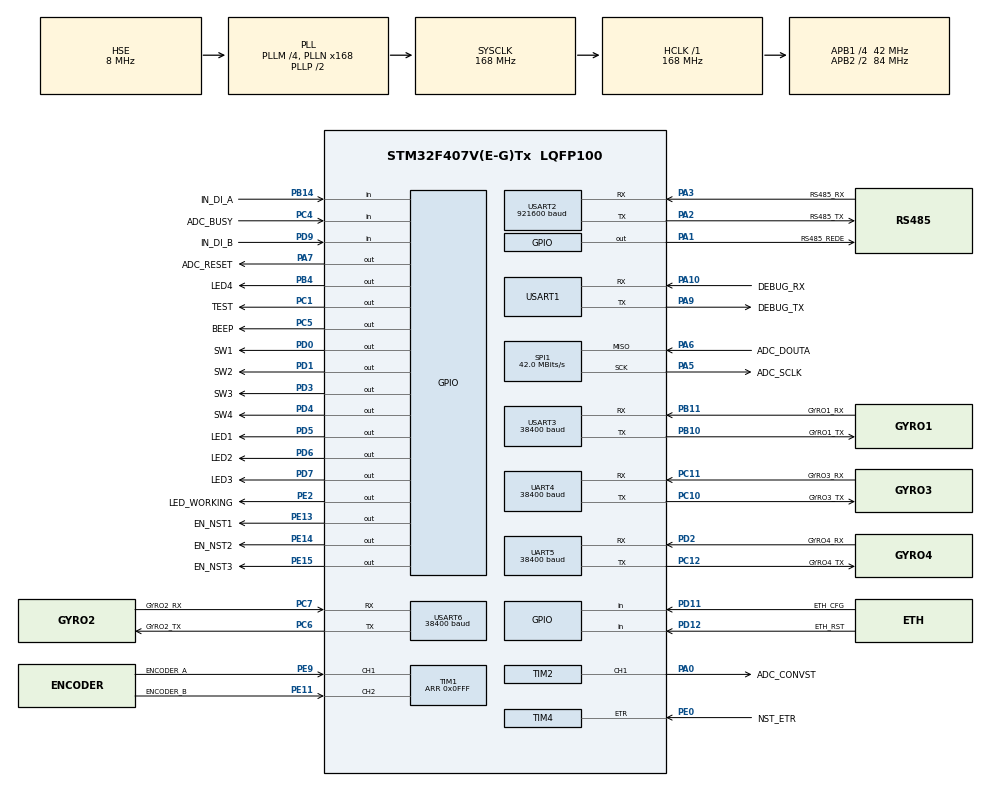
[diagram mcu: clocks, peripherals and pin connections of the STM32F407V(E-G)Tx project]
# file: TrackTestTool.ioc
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Dma.Request0=USART2_TX
Dma.Request1=USART2_RX
Dma.Request2=USART3_RX
Dma.Request3=UART4_RX
Dma.Request4=UART5_RX
Dma.Request5=SPI1_RX
Dma.Request6=USART6_RX
Dma.SPI1_RX.5.Direction=DMA_PERIPH_TO_MEMORY
Dma.SPI1_RX.5.FIFOMode=DMA_FIFOMODE_DISABLE
Dma.SPI1_RX.5.Instance=DMA2_Stream0
Dma.SPI1_RX.5.MemDataAlignment=DMA_MDATAALIGN_BYTE
Dma.SPI1_RX.5.MemInc=DMA_MINC_ENABLE
Dma.SPI1_RX.5.Mode=DMA_NORMAL
Dma.SPI1_RX.5.PeriphDataAlignment=DMA_PDATAALIGN_BYTE
Dma.SPI1_RX.5.PeriphInc=DMA_PINC_DISABLE
Dma.SPI1_RX.5.Priority=DMA_PRIORITY_MEDIUM
Dma.UART4_RX.3.Direction=DMA_PERIPH_TO_MEMORY
Dma.UART4_RX.3.FIFOMode=DMA_FIFOMODE_DISABLE
Dma.UART4_RX.3.Instance=DMA1_Stream2
Dma.UART4_RX.3.MemDataAlignment=DMA_MDATAALIGN_BYTE
Dma.UART4_RX.3.MemInc=DMA_MINC_ENABLE
Dma.UART4_RX.3.Mode=DMA_CIRCULAR
Dma.UART4_RX.3.PeriphDataAlignment=DMA_PDATAALIGN_BYTE
Dma.UART4_RX.3.PeriphInc=DMA_PINC_DISABLE
Dma.UART4_RX.3.Priority=DMA_PRIORITY_LOW
Dma.UART5_RX.4.Direction=DMA_PERIPH_TO_MEMORY
Dma.UART5_RX.4.FIFOMode=DMA_FIFOMODE_DISABLE
Dma.UART5_RX.4.Instance=DMA1_Stream0
Dma.UART5_RX.4.MemDataAlignment=DMA_MDATAALIGN_BYTE
Dma.UART5_RX.4.MemInc=DMA_MINC_ENABLE
Dma.UART5_RX.4.Mode=DMA_CIRCULAR
Dma.UART5_RX.4.PeriphDataAlignment=DMA_PDATAALIGN_BYTE
Dma.UART5_RX.4.PeriphInc=DMA_PINC_DISABLE
Dma.UART5_RX.4.Priority=DMA_PRIORITY_LOW
Dma.USART2_RX.1.Direction=DMA_PERIPH_TO_MEMORY
Dma.USART2_RX.1.FIFOMode=DMA_FIFOMODE_DISABLE
Dma.USART2_RX.1.Instance=DMA1_Stream5
Dma.USART2_RX.1.MemDataAlignment=DMA_MDATAALIGN_BYTE
Dma.USART2_RX.1.MemInc=DMA_MINC_ENABLE
Dma.USART2_RX.1.Mode=DMA_CIRCULAR
Dma.USART2_RX.1.PeriphDataAlignment=DMA_PDATAALIGN_BYTE
Dma.USART2_RX.1.PeriphInc=DMA_PINC_DISABLE
Dma.USART2_RX.1.Priority=DMA_PRIORITY_LOW
Dma.USART2_TX.0.Direction=DMA_MEMORY_TO_PERIPH
Dma.USART2_TX.0.FIFOMode=DMA_FIFOMODE_DISABLE
Dma.USART2_TX.0.Instance=DMA1_Stream6
Dma.USART2_TX.0.MemDataAlignment=DMA_MDATAALIGN_BYTE
Dma.USART2_TX.0.MemInc=DMA_MINC_ENABLE
Dma.USART2_TX.0.Mode=DMA_NORMAL
Dma.USART2_TX.0.PeriphDataAlignment=DMA_PDATAALIGN_BYTE
Dma.USART2_TX.0.PeriphInc=DMA_PINC_DISABLE
Dma.USART2_TX.0.Priority=DMA_PRIORITY_LOW
Dma.USART3_RX.2.Direction=DMA_PERIPH_TO_MEMORY
Dma.USART3_RX.2.FIFOMode=DMA_FIFOMODE_DISABLE
Dma.USART3_RX.2.Instance=DMA1_Stream1
Dma.USART3_RX.2.MemDataAlignment=DMA_MDATAALIGN_BYTE
Dma.USART3_RX.2.MemInc=DMA_MINC_ENABLE
Dma.USART3_RX.2.Mode=DMA_CIRCULAR
Dma.USART3_RX.2.PeriphDataAlignment=DMA_PDATAALIGN_BYTE
Dma.USART3_RX.2.PeriphInc=DMA_PINC_DISABLE
Dma.USART3_RX.2.Priority=DMA_PRIORITY_LOW
Dma.USART6_RX.6.Direction=DMA_PERIPH_TO_MEMORY
Dma.USART6_RX.6.FIFOMode=DMA_FIFOMODE_DISABLE
Dma.USART6_RX.6.Instance=DMA2_Stream1
Dma.USART6_RX.6.MemDataAlignment=DMA_MDATAALIGN_BYTE
Dma.USART6_RX.6.MemInc=DMA_MINC_ENABLE
Dma.USART6_RX.6.Mode=DMA_CIRCULAR
Dma.USART6_RX.6.PeriphDataAlignment=DMA_PDATAALIGN_BYTE
Dma.USART6_RX.6.PeriphInc=DMA_PINC_DISABLE
Dma.USART6_RX.6.Priority=DMA_PRIORITY_LOW
FREERTOS.BinarySemaphores01=AdcConvertStartSem,Dynamic,NULL;EncoderArriveSem,Dynamic,NULL;UserCommandArriveSem,Dynamic,NULL;UserCommandProcessSem,Dynamic,NULL
FREERTOS.Mutexes01=ADCSamplingMutex,Dynamic,NULL;UserCommandMutex,Dynamic,NULL
FREERTOS.Tasks01=MAIN_TASK,2,512,mainTask,Default,NULL,Dynamic,NULL,NULL;ADC_TASK,0,128,adcTask,As weak,NULL,Dynamic,NULL,NULL;SENSOR_TASK,-1,128,sensorTask,As weak,NULL,Dynamic,NULL,NULL;COMM_TASK,-2,256,commTask,As weak,NULL,Dynamic,NULL,NULL;MONITOR_TASK,-3,128,monitorTask,Default,NULL,Dynamic,NULL,NULL
FREERTOS.configUSE_COUNTING_SEMAPHORES=0
Mcu.Family=STM32F4
Mcu.Name=STM32F407V(E-G)Tx
Mcu.Package=LQFP100
NVIC.DMA1_Stream0_IRQn=true\:5\:0\:false\:false\:true\:true\:false
NVIC.DMA1_Stream1_IRQn=true\:5\:0\:false\:false\:true\:true\:false
NVIC.DMA1_Stream2_IRQn=true\:5\:0\:false\:false\:true\:true\:false
NVIC.DMA1_Stream5_IRQn=true\:5\:0\:false\:false\:true\:true\:false
NVIC.DMA1_Stream6_IRQn=true\:5\:0\:false\:false\:true\:true\:false
NVIC.DMA2_Stream0_IRQn=true\:5\:0\:false\:false\:true\:true\:false
NVIC.DMA2_Stream1_IRQn=true\:5\:0\:false\:false\:true\:true\:false
NVIC.PriorityGroup=NVIC_PRIORITYGROUP_4
NVIC.TIM1_UP_TIM10_IRQn=true\:5\:0\:false\:false\:true\:true\:true
NVIC.TIM3_IRQn=true\:5\:0\:false\:false\:true\:true\:true
NVIC.TIM4_IRQn=true\:5\:0\:false\:false\:true\:true\:true
NVIC.TIM5_IRQn=true\:5\:0\:false\:false\:true\:true\:true
NVIC.TIM6_DAC_IRQn=true\:0\:0\:false\:false\:true\:false\:false
NVIC.TIM7_IRQn=true\:5\:0\:false\:false\:true\:true\:true
NVIC.TimeBase=TIM6_DAC_IRQn
NVIC.TimeBaseIP=TIM6
NVIC.USART2_IRQn=true\:5\:0\:false\:false\:true\:true\:true
NVIC.USART6_IRQn=true\:5\:0\:false\:false\:true\:true\:true
PA0-WKUP.GPIO_Label=ADC_CONVST
PA0-WKUP.Signal=S_TIM2_CH1_ETR
PA1.GPIO_Label=RS485_REDE
PA1.Signal=GPIO_Output
PA10.GPIO_Label=DEBUG_RX
PA10.Mode=Asynchronous
PA10.Signal=USART1_RX
PA2.GPIO_Label=RS485_TX
PA2.Mode=Asynchronous
PA2.Signal=USART2_TX
PA3.GPIO_Label=RS485_RX
PA3.Mode=Asynchronous
PA3.Signal=USART2_RX
PA4.GPIO_Label=ADC_CS
PA4.Signal=SPI1_NSS
PA5.GPIO_Label=ADC_SCLK
PA5.Mode=RX_Only_Simplex_Unidirect_Master
PA5.Signal=SPI1_SCK
PA6.GPIO_Label=ADC_DOUTA
PA6.Mode=RX_Only_Simplex_Unidirect_Master
PA6.Signal=SPI1_MISO
PA7.GPIO_Label=ADC_RESET
PA7.Signal=GPIO_Output
PA9.GPIO_Label=DEBUG_TX
PA9.Mode=Asynchronous
PA9.Signal=USART1_TX
PB10.GPIO_Label=GYRO1_TX
PB10.Mode=Asynchronous
PB10.Signal=USART3_TX
PB11.GPIO_Label=GYRO1_RX
PB11.Mode=Asynchronous
PB11.Signal=USART3_RX
PB14.GPIO_Label=IN_DI_A
PB14.GPIO_PuPd=GPIO_PULLUP
PB14.Signal=GPIO_Input
PB4.GPIO_Label=LED4
PB4.Signal=GPIO_Output
PC1.GPIO_Label=TEST
PC1.GPIO_Speed=GPIO_SPEED_FREQ_VERY_HIGH
PC1.Signal=GPIO_Output
PC10.GPIO_Label=GYRO3_TX
PC10.Mode=Asynchronous
PC10.Signal=UART4_TX
PC11.GPIO_Label=GYRO3_RX
PC11.Mode=Asynchronous
PC11.Signal=UART4_RX
PC12.GPIO_Label=GYRO4_TX
PC12.Mode=Asynchronous
PC12.Signal=UART5_TX
PC4.GPIO_Label=ADC_BUSY
PC4.Signal=GPIO_Input
PC5.GPIO_Label=BEEP
PC5.Signal=GPIO_Output
PC6.GPIO_Label=GYRO2_TX
PC6.Mode=Asynchronous
PC6.Signal=USART6_TX
PC7.GPIO_Label=GYRO2_RX
PC7.Mode=Asynchronous
PC7.Signal=USART6_RX
PD0.GPIO_Label=SW1
PD0.Signal=GPIO_Output
PD1.GPIO_Label=SW2
PD1.Signal=GPIO_Output
PD11.GPIO_Label=ETH_CFG
PD11.Signal=GPIO_Input
PD12.GPIO_Label=ETH_RST
PD12.Signal=GPIO_Input
PD2.GPIO_Label=GYRO4_RX
PD2.Mode=Asynchronous
PD2.Signal=UART5_RX
PD3.GPIO_Label=SW3
PD3.Signal=GPIO_Output
PD4.GPIO_Label=SW4
PD4.Signal=GPIO_Output
PD5.GPIO_Label=LED1
PD5.Signal=GPIO_Output
PD6.GPIO_Label=LED2
PD6.Signal=GPIO_Output
PD7.GPIO_Label=LED3
PD7.Signal=GPIO_Output
PD9.GPIO_Label=IN_DI_B
PD9.GPIO_PuPd=GPIO_PULLUP
PD9.Signal=GPIO_Input
PE0.GPIO_Label=NST_ETR
PE0.Signal=S_TIM4_ETR
PE11.GPIO_Label=ENCODER_B
PE11.GPIO_PuPd=GPIO_PULLUP
PE11.Signal=S_TIM1_CH2
PE13.GPIO_Label=EN_NST1
PE13.Signal=GPIO_Output
PE14.GPIO_Label=EN_NST2
PE14.Signal=GPIO_Output
PE15.GPIO_Label=EN_NST3
PE15.Signal=GPIO_Output
PE2.GPIO_Label=LED_WORKING
PE2.Signal=GPIO_Output
PE9.GPIO_Label=ENCODER_A
PE9.GPIO_PuPd=GPIO_PULLUP
PE9.Signal=S_TIM1_CH1
PH0-OSC_IN.Mode=HSE-External-Oscillator
PH0-OSC_IN.Signal=RCC_OSC_IN
PH1-OSC_OUT.Mode=HSE-External-Oscillator
PH1-OSC_OUT.Signal=RCC_OSC_OUT
ProjectManager.HeapSize=0x200
ProjectManager.StackSize=0x400
ProjectManager.TargetToolchain=MDK-ARM V5
RCC.48MHZClocksFreq_Value=84000000
RCC.AHBFreq_Value=168000000
RCC.APB1CLKDivider=RCC_HCLK_DIV4
RCC.APB1Freq_Value=42000000
RCC.APB1TimFreq_Value=84000000
RCC.APB2CLKDivider=RCC_HCLK_DIV2
RCC.APB2Freq_Value=84000000
RCC.APB2TimFreq_Value=168000000
RCC.CortexFreq_Value=168000000
RCC.HCLKFreq_Value=168000000
RCC.HSE_VALUE=8000000
RCC.HSI_VALUE=16000000
RCC.LSE_VALUE=32768
RCC.PLLM=4
RCC.PLLN=168
RCC.PLLSourceVirtual=RCC_PLLSOURCE_HSE
RCC.SYSCLKFreq_VALUE=168000000
RCC.SYSCLKSource=RCC_SYSCLKSOURCE_PLLCLK
RCC.VCOOutputFreq_Value=336000000
SH.S_TIM1_CH1.0=TIM1_CH1,Encoder_Interface
SH.S_TIM1_CH2.0=TIM1_CH2,Encoder_Interface
SH.S_TIM2_CH1_ETR.0=TIM2_CH1,PWM Generation1 CH1
SH.S_TIM4_ETR.0=TIM4_ETR,ClockSourceETR_Mode2
SPI1.BaudRatePrescaler=SPI_BAUDRATEPRESCALER_2
SPI1.CalculateBaudRate=42.0 MBits/s
SPI1.Direction=SPI_DIRECTION_2LINES_RXONLY
SPI1.Mode=SPI_MODE_MASTER
SPI1.VirtualType=VM_MASTER
TIM1.EncoderMode=TIM_ENCODERMODE_TI12
TIM1.Period=0x0FFF
TIM2.Channel-PWM\ Generation1\ CH1=TIM_CHANNEL_1
TIM2.Period=100-1
TIM2.Prescaler=840-1
TIM2.Pulse-PWM\ Generation1\ CH1=80
TIM2.TIM_MasterOutputTrigger=TIM_TRGO_OC1REF
TIM2.TIM_MasterSlaveMode=TIM_MASTERSLAVEMODE_ENABLE
TIM3.Period=20-1
TIM3.Prescaler=100-1
TIM4.Period=0xFFFF
TIM5.Period=1000*5-1
TIM5.Prescaler=8400*2-1
TIM7.Period=500-1
TIM7.Prescaler=8400-1
UART4.BaudRate=38400
UART4.VirtualMode=Asynchronous
UART5.BaudRate=38400
UART5.VirtualMode=Asynchronous
USART1.VirtualMode=VM_ASYNC
USART2.BaudRate=921600
USART2.VirtualMode=VM_ASYNC
USART3.BaudRate=38400
USART3.VirtualMode=VM_ASYNC
USART6.BaudRate=38400
USART6.VirtualMode=VM_ASYNC
VP_FREERTOS_VS_ENABLE.Mode=Enabled
VP_SYS_VS_tim6.Mode=TIM6
VP_TIM2_VS_ClockSourceINT.Mode=Internal
VP_TIM3_VS_ClockSourceINT.Mode=Internal
VP_TIM3_VS_ClockSourceITR.Mode=TriggerSource_ITR1
VP_TIM3_VS_ControllerModeTrigger.Mode=Trigger Mode
VP_TIM3_VS_OPM.Mode=OPM_bit
VP_TIM5_VS_ClockSourceINT.Mode=Internal
VP_TIM7_VS_ClockSourceINT.Mode=Enable_Timer
board=custom

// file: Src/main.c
/**
  ******************************************************************************
  * @file           : main.c
  * @brief          : Main program body
  ******************************************************************************
  * This notice applies to any and all portions of this file
  * that are not between comment pairs USER CODE BEGIN and
  * USER CODE END. Other portions of this file, whether
  * inserted by the user or by software development tools
  * are owned by their respective copyright owners.
  *
  * Copyright (c) 2024 STMicroelectronics International N.V.
  * All rights reserved.
  *
  * Redistribution and use in source and binary forms, with or without
  * modification, are permitted, provided that the following conditions are met:
  *
  * 1. Redistribution of source code must retain the above copyright notice,
  *    this list of conditions and the following disclaimer.
  * 2. Redistributions in binary form must reproduce the above copyright notice,
  *    this list of conditions and the following disclaimer in the documentation
  *    and/or other materials provided with the distribution.
  * 3. Neither the name of STMicroelectronics nor the names of other
  *    contributors to this software may be used to endorse or promote products
  *    derived from this software without specific written permission.
  * 4. This software, including modifications and/or derivative works of this
  *    software, must execute solely and exclusively on microcontroller or
  *    microprocessor devices manufactured by or for STMicroelectronics.
  * 5. Redistribution and use of this software other than as permitted under
  *    this license is void and will automatically terminate your rights under
  *    this license.
  *
  * THIS SOFTWARE IS PROVIDED BY STMICROELECTRONICS AND CONTRIBUTORS "AS IS"
  * AND ANY EXPRESS, IMPLIED OR STATUTORY WARRANTIES, INCLUDING, BUT NOT
  * LIMITED TO, THE IMPLIED WARRANTIES OF MERCHANTABILITY, FITNESS FOR A
  * PARTICULAR PURPOSE AND NON-INFRINGEMENT OF THIRD PARTY INTELLECTUAL PROPERTY
  * RIGHTS ARE DISCLAIMED TO THE FULLEST EXTENT PERMITTED BY LAW. IN NO EVENT
  * SHALL STMICROELECTRONICS OR CONTRIBUTORS BE LIABLE FOR ANY DIRECT, INDIRECT,
  * INCIDENTAL, SPECIAL, EXEMPLARY, OR CONSEQUENTIAL DAMAGES (INCLUDING, BUT NOT
  * LIMITED TO, PROCUREMENT OF SUBSTITUTE GOODS OR SERVICES; LOSS OF USE, DATA,
  * OR PROFITS; OR BUSINESS INTERRUPTION) HOWEVER CAUSED AND ON ANY THEORY OF
  * LIABILITY, WHETHER IN CONTRACT, STRICT LIABILITY, OR TORT (INCLUDING
  * NEGLIGENCE OR OTHERWISE) ARISING IN ANY WAY OUT OF THE USE OF THIS SOFTWARE,
  * EVEN IF ADVISED OF THE POSSIBILITY OF SUCH DAMAGE.
  *
  ******************************************************************************
  */
#include "main.h"
#include "stm32f4xx_hal.h"
#include "cmsis_os.h"

/* USER CODE BEGIN Includes */
#include <math.h>
#include "debug.h"
#include "comm.h"
#include "calibrate.h"
#include "ad7608.h"
#include "gyro97B.h"
#include "encoder.h"
#include "nst1001.h"
#include "flash.h"
/* USER CODE END Includes */

SPI_HandleTypeDef hspi1;
DMA_HandleTypeDef hdma_spi1_rx;

TIM_HandleTypeDef htim1;
TIM_HandleTypeDef htim2;
TIM_HandleTypeDef htim3;
TIM_HandleTypeDef htim4;
TIM_HandleTypeDef htim5;
TIM_HandleTypeDef htim7;

UART_HandleTypeDef huart4;
UART_HandleTypeDef huart5;
UART_HandleTypeDef huart1;
UART_HandleTypeDef huart2;
UART_HandleTypeDef huart3;
UART_HandleTypeDef huart6;
DMA_HandleTypeDef hdma_uart4_rx;
DMA_HandleTypeDef hdma_uart5_rx;
DMA_HandleTypeDef hdma_usart2_tx;
DMA_HandleTypeDef hdma_usart2_rx;
DMA_HandleTypeDef hdma_usart3_rx;
DMA_HandleTypeDef hdma_usart6_rx;

osThreadId MAIN_TASKHandle;
osThreadId ADC_TASKHandle;
osThreadId SENSOR_TASKHandle;
osThreadId COMM_TASKHandle;
osThreadId MONITOR_TASKHandle;
osMutexId ADCSamplingMutexHandle;
osMutexId UserCommandMutexHandle;
osSemaphoreId AdcConvertStartSemHandle;
osSemaphoreId EncoderArriveSemHandle;
osSemaphoreId UserCommandArriveSemHandle;
osSemaphoreId UserCommandProcessSemHandle;

/* USER CODE BEGIN PV */

#define PROJECT_NAME_LINE1         " ______                    __         _____                        __              \r\n"
#define PROJECT_NAME_LINE2         "/_  __/  ____ ___ _ ____  / /__      / ___/ ___  ___   __ _  ___  / /_  ____  __ __\r\n"
#define PROJECT_NAME_LINE3         " / /    / __// _ `// __/ /  '_/     / (_ / / -_)/ _ \ /  ' \/ -_)/ __/ / __/ / // /\r\n"
#define PROJECT_NAME_LINE4         "/_/    /_/   \_,_/ \__/ /_/\_\      \___/  \__/ \___//_/_/_/\__/ \__/ /_/    \_, / \r\n"
#define PROJECT_NAME_LINE5         "                                                                            /___/  \r\n"

#define FIRMWARE_VERSION           "0.0.7"
#define COMPILE_DATE_TIME          __DATE__","__TIME__
#define PROJECT_NAME               PROJECT_NAME_LINE1\
                                   PROJECT_NAME_LINE2\
                                   PROJECT_NAME_LINE3\
                                   PROJECT_NAME_LINE4\
                                   PROJECT_NAME_LINE5
#undef  PROJECT_NAME
#define PROJECT_NAME               "#### < Track Geometry > ####"

#define BANNER_INFO                "\r\n"PROJECT_NAME"\r\n"\
                                   "Firmware Version : "FIRMWARE_VERSION"\r\n"\
                                   "Compilation Time : "COMPILE_DATE_TIME"\r\n\r\n"

/* Private variables ---------------------------------------------------------*/

/* TIM1 : Encoder                  */
/* TIM2 : ADC sampling trigger     */
/* TIM3 : ADC data reading trigger */
/* TIM6 : HAL conter               */
/* TIM4 : Temperature sensor       */
/* TIM5 : Speed sensor             */

TRACK_MEAS_ITEM meas = {0.0f};
uint8_t         format = OUTPUT_JUSTFLOAT;

/* USER CODE END PV */

void SystemClock_Config(void);
static void MX_GPIO_Init(void);
static void MX_DMA_Init(void);
static void MX_USART1_UART_Init(void);
static void MX_SPI1_Init(void);
static void MX_USART2_UART_Init(void);
static void MX_USART6_UART_Init(void);
static void MX_TIM1_Init(void);
static void MX_TIM4_Init(void);
static void MX_TIM5_Init(void);
static void MX_TIM2_Init(void);
static void MX_TIM3_Init(void);
static void MX_TIM7_Init(void);
static void MX_UART4_Init(void);
static void MX_UART5_Init(void);
static void MX_USART3_UART_Init(void);
void mainTask(void const * argument);
void adcTask(void const * argument);
void sensorTask(void const * argument);
void commTask(void const * argument);
void monitorTask(void const * argument);

void HAL_TIM_MspPostInit(TIM_HandleTypeDef *htim);

/* USER CODE BEGIN PFP */
/* Private function prototypes -----------------------------------------------*/
static void sendData2PC(void);
/* USER CODE END PFP */

/* USER CODE BEGIN 0 */
extern WORK_MODE workMode;
extern TRIG_MODE trigMode;
extern DATA_MODE dataMode;
extern float outputADVal[AD7608_CH_NUMBER];
/* USER CODE END 0 */

int main(void)
{

  /* MCU Configuration----------------------------------------------------------*/

  /* Reset of all peripherals, Initializes the Flash interface and the Systick. */
  HAL_Init();

  /* Configure the system clock */
  SystemClock_Config();

  /* Initialize all configured peripherals */
  MX_GPIO_Init();
  MX_DMA_Init();
  MX_USART1_UART_Init();
  MX_SPI1_Init();
  MX_USART2_UART_Init();
  MX_USART6_UART_Init();
  MX_TIM1_Init();
  MX_TIM4_Init();
  MX_TIM5_Init();
  MX_TIM2_Init();
  MX_TIM3_Init();
  MX_TIM7_Init();
  MX_UART4_Init();
  MX_UART5_Init();
  MX_USART3_UART_Init();

  /* Create the mutex(es) */
  /* definition and creation of ADCSamplingMutex */
  osMutexDef(ADCSamplingMutex);
  ADCSamplingMutexHandle = osMutexCreate(osMutex(ADCSamplingMutex));

  /* definition and creation of UserCommandMutex */
  osMutexDef(UserCommandMutex);
  UserCommandMutexHandle = osMutexCreate(osMutex(UserCommandMutex));

  /* Create the semaphores(s) */
  /* definition and creation of AdcConvertStartSem */
  osSemaphoreDef(AdcConvertStartSem);
  AdcConvertStartSemHandle = osSemaphoreCreate(osSemaphore(AdcConvertStartSem), 1);

  /* definition and creation of EncoderArriveSem */
  osSemaphoreDef(EncoderArriveSem);
  EncoderArriveSemHandle = osSemaphoreCreate(osSemaphore(EncoderArriveSem), 1);

  /* definition and creation of UserCommandArriveSem */
  osSemaphoreDef(UserCommandArriveSem);
  UserCommandArriveSemHandle = osSemaphoreCreate(osSemaphore(UserCommandArriveSem), 1);

  /* definition and creation of UserCommandProcessSem */
  osSemaphoreDef(UserCommandProcessSem);
  UserCommandProcessSemHandle = osSemaphoreCreate(osSemaphore(UserCommandProcessSem), 1);

  /* Create the thread(s) */
  /* definition and creation of MAIN_TASK */
  osThreadDef(MAIN_TASK, mainTask, osPriorityHigh, 0, 512);
  MAIN_TASKHandle = osThreadCreate(osThread(MAIN_TASK), NULL);

  /* definition and creation of ADC_TASK */
  osThreadDef(ADC_TASK, adcTask, osPriorityNormal, 0, 128);
  ADC_TASKHandle = osThreadCreate(osThread(ADC_TASK), NULL);

  /* definition and creation of SENSOR_TASK */
  osThreadDef(SENSOR_TASK, sensorTask, osPriorityBelowNormal, 0, 128);
  SENSOR_TASKHandle = osThreadCreate(osThread(SENSOR_TASK), NULL);

  /* definition and creation of COMM_TASK */
  osThreadDef(COMM_TASK, commTask, osPriorityLow, 0, 256);
  COMM_TASKHandle = osThreadCreate(osThread(COMM_TASK), NULL);

  /* definition and creation of MONITOR_TASK */
  osThreadDef(MONITOR_TASK, monitorTask, osPriorityIdle, 0, 128);
  MONITOR_TASKHandle = osThreadCreate(osThread(MONITOR_TASK), NULL);

  /* Start scheduler */
  osKernelStart();

  /* We should never get here as control is now taken by the scheduler */

  /* Infinite loop */
  while (1)
  {

  }

}

void SystemClock_Config(void)
{

  RCC_OscInitTypeDef RCC_OscInitStruct;
  RCC_ClkInitTypeDef RCC_ClkInitStruct;

    /**Configure the main internal regulator output voltage
    */
  __HAL_RCC_PWR_CLK_ENABLE();

  __HAL_PWR_VOLTAGESCALING_CONFIG(PWR_REGULATOR_VOLTAGE_SCALE1);

    /**Initializes the CPU, AHB and APB busses clocks
    */
  RCC_OscInitStruct.OscillatorType = RCC_OSCILLATORTYPE_HSE;
  RCC_OscInitStruct.HSEState = RCC_HSE_ON;
  RCC_OscInitStruct.PLL.PLLState = RCC_PLL_ON;
  RCC_OscInitStruct.PLL.PLLSource = RCC_PLLSOURCE_HSE;
  RCC_OscInitStruct.PLL.PLLM = 4;
  RCC_OscInitStruct.PLL.PLLN = 168;
  RCC_OscInitStruct.PLL.PLLP = RCC_PLLP_DIV2;
  RCC_OscInitStruct.PLL.PLLQ = 4;
  if (HAL_RCC_OscConfig(&RCC_OscInitStruct) != HAL_OK)
  {
    _Error_Handler(__FILE__, __LINE__);
  }

    /**Initializes the CPU, AHB and APB busses clocks
    */
  RCC_ClkInitStruct.ClockType = RCC_CLOCKTYPE_HCLK|RCC_CLOCKTYPE_SYSCLK
                              |RCC_CLOCKTYPE_PCLK1|RCC_CLOCKTYPE_PCLK2;
  RCC_ClkInitStruct.SYSCLKSource = RCC_SYSCLKSOURCE_PLLCLK;
  RCC_ClkInitStruct.AHBCLKDivider = RCC_SYSCLK_DIV1;
  RCC_ClkInitStruct.APB1CLKDivider = RCC_HCLK_DIV4;
  RCC_ClkInitStruct.APB2CLKDivider = RCC_HCLK_DIV2;

  if (HAL_RCC_ClockConfig(&RCC_ClkInitStruct, FLASH_LATENCY_5) != HAL_OK)
  {
    _Error_Handler(__FILE__, __LINE__);
  }

    /**Configure the Systick interrupt time
    */
  HAL_SYSTICK_Config(HAL_RCC_GetHCLKFreq()/1000);

    /**Configure the Systick
    */
  HAL_SYSTICK_CLKSourceConfig(SYSTICK_CLKSOURCE_HCLK);

  /* SysTick_IRQn interrupt configuration */
  HAL_NVIC_SetPriority(SysTick_IRQn, 15, 0);
}

/* SPI1 init function */
static void MX_SPI1_Init(void)
{

  /* SPI1 parameter configuration*/
  hspi1.Instance = SPI1;
  hspi1.Init.Mode = SPI_MODE_MASTER;
  hspi1.Init.Direction = SPI_DIRECTION_2LINES_RXONLY;
  hspi1.Init.DataSize = SPI_DATASIZE_8BIT;
  hspi1.Init.CLKPolarity = SPI_POLARITY_LOW;
  hspi1.Init.CLKPhase = SPI_PHASE_1EDGE;
  hspi1.Init.NSS = SPI_NSS_SOFT;
  hspi1.Init.BaudRatePrescaler = SPI_BAUDRATEPRESCALER_2;
  hspi1.Init.FirstBit = SPI_FIRSTBIT_MSB;
  hspi1.Init.TIMode = SPI_TIMODE_DISABLE;
  hspi1.Init.CRCCalculation = SPI_CRCCALCULATION_DISABLE;
  hspi1.Init.CRCPolynomial = 10;
  if (HAL_SPI_Init(&hspi1) != HAL_OK)
  {
    _Error_Handler(__FILE__, __LINE__);
  }

}

/* TIM1 init function */
static void MX_TIM1_Init(void)
{

  TIM_Encoder_InitTypeDef sConfig;
  TIM_MasterConfigTypeDef sMasterConfig;

  htim1.Instance = TIM1;
  htim1.Init.Prescaler = 0;
  htim1.Init.CounterMode = TIM_COUNTERMODE_UP;
  htim1.Init.Period = 0x0FFF;
  htim1.Init.ClockDivision = TIM_CLOCKDIVISION_DIV1;
  htim1.Init.RepetitionCounter = 0;
  sConfig.EncoderMode = TIM_ENCODERMODE_TI12;
  sConfig.IC1Polarity = TIM_ICPOLARITY_RISING;
  sConfig.IC1Selection = TIM_ICSELECTION_DIRECTTI;
  sConfig.IC1Prescaler = TIM_ICPSC_DIV1;
  sConfig.IC1Filter = 0;
  sConfig.IC2Polarity = TIM_ICPOLARITY_RISING;
  sConfig.IC2Selection = TIM_ICSELECTION_DIRECTTI;
  sConfig.IC2Prescaler = TIM_ICPSC_DIV1;
  sConfig.IC2Filter = 0;
  if (HAL_TIM_Encoder_Init(&htim1, &sConfig) != HAL_OK)
  {
    _Error_Handler(__FILE__, __LINE__);
  }

  sMasterConfig.MasterOutputTrigger = TIM_TRGO_RESET;
  sMasterConfig.MasterSlaveMode = TIM_MASTERSLAVEMODE_DISABLE;
  if (HAL_TIMEx_MasterConfigSynchronization(&htim1, &sMasterConfig) != HAL_OK)
  {
    _Error_Handler(__FILE__, __LINE__);
  }

}

/* TIM2 init function */
static void MX_TIM2_Init(void)
{

  TIM_ClockConfigTypeDef sClockSourceConfig;
  TIM_MasterConfigTypeDef sMasterConfig;
  TIM_OC_InitTypeDef sConfigOC;

  htim2.Instance = TIM2;
  htim2.Init.Prescaler = 840-1;
  htim2.Init.CounterMode = TIM_COUNTERMODE_UP;
  htim2.Init.Period = 100-1;
  htim2.Init.ClockDivision = TIM_CLOCKDIVISION_DIV1;
  if (HAL_TIM_Base_Init(&htim2) != HAL_OK)
  {
    _Error_Handler(__FILE__, __LINE__);
  }

  sClockSourceConfig.ClockSource = TIM_CLOCKSOURCE_INTERNAL;
  if (HAL_TIM_ConfigClockSource(&htim2, &sClockSourceConfig) != HAL_OK)
  {
    _Error_Handler(__FILE__, __LINE__);
  }

  if (HAL_TIM_PWM_Init(&htim2) != HAL_OK)
  {
    _Error_Handler(__FILE__, __LINE__);
  }

  sMasterConfig.MasterOutputTrigger = TIM_TRGO_OC1REF;
  sMasterConfig.MasterSlaveMode = TIM_MASTERSLAVEMODE_ENABLE;
  if (HAL_TIMEx_MasterConfigSynchronization(&htim2, &sMasterConfig) != HAL_OK)
  {
    _Error_Handler(__FILE__, __LINE__);
  }

  sConfigOC.OCMode = TIM_OCMODE_PWM1;
  sConfigOC.Pulse = 80;
  sConfigOC.OCPolarity = TIM_OCPOLARITY_HIGH;
  sConfigOC.OCFastMode = TIM_OCFAST_DISABLE;
  if (HAL_TIM_PWM_ConfigChannel(&htim2, &sConfigOC, TIM_CHANNEL_1) != HAL_OK)
  {
    _Error_Handler(__FILE__, __LINE__);
  }

  HAL_TIM_MspPostInit(&htim2);

}

/* TIM3 init function */
static void MX_TIM3_Init(void)
{

  TIM_ClockConfigTypeDef sClockSourceConfig;
  TIM_SlaveConfigTypeDef sSlaveConfig;
  TIM_MasterConfigTypeDef sMasterConfig;

  htim3.Instance = TIM3;
  htim3.Init.Prescaler = 100-1;
  htim3.Init.CounterMode = TIM_COUNTERMODE_UP;
  htim3.Init.Period = 20-1;
  htim3.Init.ClockDivision = TIM_CLOCKDIVISION_DIV1;
  if (HAL_TIM_Base_Init(&htim3) != HAL_OK)
  {
    _Error_Handler(__FILE__, __LINE__);
  }

  sClockSourceConfig.ClockSource = TIM_CLOCKSOURCE_INTERNAL;
  if (HAL_TIM_ConfigClockSource(&htim3, &sClockSourceConfig) != HAL_OK)
  {
    _Error_Handler(__FILE__, __LINE__);
  }

  if (HAL_TIM_OnePulse_Init(&htim3, TIM_OPMODE_SINGLE) != HAL_OK)
  {
    _Error_Handler(__FILE__, __LINE__);
  }

  sSlaveConfig.SlaveMode = TIM_SLAVEMODE_TRIGGER;
  sSlaveConfig.InputTrigger = TIM_TS_ITR1;
  if (HAL_TIM_SlaveConfigSynchronization(&htim3, &sSlaveConfig) != HAL_OK)
  {
    _Error_Handler(__FILE__, __LINE__);
  }

  sMasterConfig.MasterOutputTrigger = TIM_TRGO_RESET;
  sMasterConfig.MasterSlaveMode = TIM_MASTERSLAVEMODE_DISABLE;
  if (HAL_TIMEx_MasterConfigSynchronization(&htim3, &sMasterConfig) != HAL_OK)
  {
    _Error_Handler(__FILE__, __LINE__);
  }

}

/* TIM4 init function */
static void MX_TIM4_Init(void)
{

  TIM_ClockConfigTypeDef sClockSourceConfig;
  TIM_MasterConfigTypeDef sMasterConfig;

  htim4.Instance = TIM4;
  htim4.Init.Prescaler = 0;
  htim4.Init.CounterMode = TIM_COUNTERMODE_UP;
  htim4.Init.Period = 0xFFFF;
  htim4.Init.ClockDivision = TIM_CLOCKDIVISION_DIV1;
  if (HAL_TIM_Base_Init(&htim4) != HAL_OK)
  {
    _Error_Handler(__FILE__, __LINE__);
  }

  sClockSourceConfig.ClockSource = TIM_CLOCKSOURCE_ETRMODE2;
  sClockSourceConfig.ClockPolarity = TIM_CLOCKPOLARITY_NONINVERTED;
  sClockSourceConfig.ClockPrescaler = TIM_CLOCKPRESCALER_DIV1;
  sClockSourceConfig.ClockFilter = 0;
  if (HAL_TIM_ConfigClockSource(&htim4, &sClockSourceConfig) != HAL_OK)
  {
    _Error_Handler(__FILE__, __LINE__);
  }

  sMasterConfig.MasterOutputTrigger = TIM_TRGO_RESET;
  sMasterConfig.MasterSlaveMode = TIM_MASTERSLAVEMODE_DISABLE;
  if (HAL_TIMEx_MasterConfigSynchronization(&htim4, &sMasterConfig) != HAL_OK)
  {
    _Error_Handler(__FILE__, __LINE__);
  }

}

/* TIM5 init function */
static void MX_TIM5_Init(void)
{

  TIM_ClockConfigTypeDef sClockSourceConfig;
  TIM_MasterConfigTypeDef sMasterConfig;

  htim5.Instance = TIM5;
  htim5.Init.Prescaler = 8400*2-1;
  htim5.Init.CounterMode = TIM_COUNTERMODE_UP;
  htim5.Init.Period = 1000*5-1;
  htim5.Init.ClockDivision = TIM_CLOCKDIVISION_DIV1;
  if (HAL_TIM_Base_Init(&htim5) != HAL_OK)
  {
    _Error_Handler(__FILE__, __LINE__);
  }

  sClockSourceConfig.ClockSource = TIM_CLOCKSOURCE_INTERNAL;
  if (HAL_TIM_ConfigClockSource(&htim5, &sClockSourceConfig) != HAL_OK)
  {
    _Error_Handler(__FILE__, __LINE__);
  }

  sMasterConfig.MasterOutputTrigger = TIM_TRGO_RESET;
  sMasterConfig.MasterSlaveMode = TIM_MASTERSLAVEMODE_DISABLE;
  if (HAL_TIMEx_MasterConfigSynchronization(&htim5, &sMasterConfig) != HAL_OK)
  {
    _Error_Handler(__FILE__, __LINE__);
  }

}

/* TIM7 init function */
static void MX_TIM7_Init(void)
{

  TIM_MasterConfigTypeDef sMasterConfig;

  htim7.Instance = TIM7;
  htim7.Init.Prescaler = 8400-1;
  htim7.Init.CounterMode = TIM_COUNTERMODE_UP;
  htim7.Init.Period = 500-1;
  if (HAL_TIM_Base_Init(&htim7) != HAL_OK)
  {
    _Error_Handler(__FILE__, __LINE__);
  }

  sMasterConfig.MasterOutputTrigger = TIM_TRGO_RESET;
  sMasterConfig.MasterSlaveMode = TIM_MASTERSLAVEMODE_DISABLE;
  if (HAL_TIMEx_MasterConfigSynchronization(&htim7, &sMasterConfig) != HAL_OK)
  {
    _Error_Handler(__FILE__, __LINE__);
  }

}

/* UART4 init function */
static void MX_UART4_Init(void)
{

  huart4.Instance = UART4;
  huart4.Init.BaudRate = 38400;
  huart4.Init.WordLength = UART_WORDLENGTH_8B;
  huart4.Init.StopBits = UART_STOPBITS_1;
  huart4.Init.Parity = UART_PARITY_NONE;
  huart4.Init.Mode = UART_MODE_TX_RX;
  huart4.Init.HwFlowCtl = UART_HWCONTROL_NONE;
  huart4.Init.OverSampling = UART_OVERSAMPLING_16;
  if (HAL_UART_Init(&huart4) != HAL_OK)
  {
    _Error_Handler(__FILE__, __LINE__);
  }

}

/* UART5 init function */
static void MX_UART5_Init(void)
{

  huart5.Instance = UART5;
  huart5.Init.BaudRate = 38400;
  huart5.Init.WordLength = UART_WORDLENGTH_8B;
  huart5.Init.StopBits = UART_STOPBITS_1;
  huart5.Init.Parity = UART_PARITY_NONE;
  huart5.Init.Mode = UART_MODE_TX_RX;
  huart5.Init.HwFlowCtl = UART_HWCONTROL_NONE;
  huart5.Init.OverSampling = UART_OVERSAMPLING_16;
  if (HAL_UART_Init(&huart5) != HAL_OK)
  {
    _Error_Handler(__FILE__, __LINE__);
  }

}

/* USART1 init function */
static void MX_USART1_UART_Init(void)
{

  huart1.Instance = USART1;
  huart1.Init.BaudRate = 115200;
  huart1.Init.WordLength = UART_WORDLENGTH_8B;
  huart1.Init.StopBits = UART_STOPBITS_1;
  huart1.Init.Parity = UART_PARITY_NONE;
  huart1.Init.Mode = UART_MODE_TX_RX;
  huart1.Init.HwFlowCtl = UART_HWCONTROL_NONE;
  huart1.Init.OverSampling = UART_OVERSAMPLING_16;
  if (HAL_UART_Init(&huart1) != HAL_OK)
  {
    _Error_Handler(__FILE__, __LINE__);
  }

}

/* USART2 init function */
static void MX_USART2_UART_Init(void)
{

  huart2.Instance = USART2;
  huart2.Init.BaudRate = 921600;
  huart2.Init.WordLength = UART_WORDLENGTH_8B;
  huart2.Init.StopBits = UART_STOPBITS_1;
  huart2.Init.Parity = UART_PARITY_NONE;
  huart2.Init.Mode = UART_MODE_TX_RX;
  huart2.Init.HwFlowCtl = UART_HWCONTROL_NONE;
  huart2.Init.OverSampling = UART_OVERSAMPLING_16;
  if (HAL_UART_Init(&huart2) != HAL_OK)
  {
    _Error_Handler(__FILE__, __LINE__);
  }

}

/* USART3 init function */
static void MX_USART3_UART_Init(void)
{

  huart3.Instance = USART3;
  huart3.Init.BaudRate = 38400;
  huart3.Init.WordLength = UART_WORDLENGTH_8B;
  huart3.Init.StopBits = UART_STOPBITS_1;
  huart3.Init.Parity = UART_PARITY_NONE;
  huart3.Init.Mode = UART_MODE_TX_RX;
  huart3.Init.HwFlowCtl = UART_HWCONTROL_NONE;
  huart3.Init.OverSampling = UART_OVERSAMPLING_16;
  if (HAL_UART_Init(&huart3) != HAL_OK)
  {
    _Error_Handler(__FILE__, __LINE__);
  }

}

/* USART6 init function */
static void MX_USART6_UART_Init(void)
{

  huart6.Instance = USART6;
  huart6.Init.BaudRate = 38400;
  huart6.Init.WordLength = UART_WORDLENGTH_8B;
  huart6.Init.StopBits = UART_STOPBITS_1;
  huart6.Init.Parity = UART_PARITY_NONE;
  huart6.Init.Mode = UART_MODE_TX_RX;
  huart6.Init.HwFlowCtl = UART_HWCONTROL_NONE;
  huart6.Init.OverSampling = UART_OVERSAMPLING_16;
  if (HAL_UART_Init(&huart6) != HAL_OK)
  {
    _Error_Handler(__FILE__, __LINE__);
  }

}

static void MX_DMA_Init(void)
{
  /* DMA controller clock enable */
  __HAL_RCC_DMA1_CLK_ENABLE();
  __HAL_RCC_DMA2_CLK_ENABLE();

  /* DMA interrupt init */
  /* DMA1_Stream0_IRQn interrupt configuration */
  HAL_NVIC_SetPriority(DMA1_Stream0_IRQn, 5, 0);
  HAL_NVIC_EnableIRQ(DMA1_Stream0_IRQn);
  /* DMA1_Stream1_IRQn interrupt configuration */
  HAL_NVIC_SetPriority(DMA1_Stream1_IRQn, 5, 0);
  HAL_NVIC_EnableIRQ(DMA1_Stream1_IRQn);
  /* DMA1_Stream2_IRQn interrupt configuration */
  HAL_NVIC_SetPriority(DMA1_Stream2_IRQn, 5, 0);
  HAL_NVIC_EnableIRQ(DMA1_Stream2_IRQn);
  /* DMA1_Stream5_IRQn interrupt configuration */
  HAL_NVIC_SetPriority(DMA1_Stream5_IRQn, 5, 0);
  HAL_NVIC_EnableIRQ(DMA1_Stream5_IRQn);
  /* DMA1_Stream6_IRQn interrupt configuration */
  HAL_NVIC_SetPriority(DMA1_Stream6_IRQn, 5, 0);
  HAL_NVIC_EnableIRQ(DMA1_Stream6_IRQn);
  /* DMA2_Stream0_IRQn interrupt configuration */
  HAL_NVIC_SetPriority(DMA2_Stream0_IRQn, 5, 0);
  HAL_NVIC_EnableIRQ(DMA2_Stream0_IRQn);
  /* DMA2_Stream1_IRQn interrupt configuration */
  HAL_NVIC_SetPriority(DMA2_Stream1_IRQn, 5, 0);
  HAL_NVIC_EnableIRQ(DMA2_Stream1_IRQn);

}

/** Configure pins as
        * Analog
        * Input
        * Output
        * EVENT_OUT
        * EXTI
*/
static void MX_GPIO_Init(void)
{

  LL_GPIO_InitTypeDef GPIO_InitStruct;

  /* GPIO Ports Clock Enable */
  LL_AHB1_GRP1_EnableClock(LL_AHB1_GRP1_PERIPH_GPIOE);
  LL_AHB1_GRP1_EnableClock(LL_AHB1_GRP1_PERIPH_GPIOH);
  LL_AHB1_GRP1_EnableClock(LL_AHB1_GRP1_PERIPH_GPIOC);
  LL_AHB1_GRP1_EnableClock(LL_AHB1_GRP1_PERIPH_GPIOA);
  LL_AHB1_GRP1_EnableClock(LL_AHB1_GRP1_PERIPH_GPIOB);
  LL_AHB1_GRP1_EnableClock(LL_AHB1_GRP1_PERIPH_GPIOD);

  /**/
  LL_GPIO_ResetOutputPin(GPIOE, LED_WORKING_Pin|EN_NST1_Pin|EN_NST2_Pin|EN_NST3_Pin);

  /**/
  LL_GPIO_ResetOutputPin(GPIOC, TEST_Pin|BEEP_Pin);

  /**/
  LL_GPIO_ResetOutputPin(GPIOA, RS485_REDE_Pin|ADC_RESET_Pin);

  /**/
  LL_GPIO_ResetOutputPin(GPIOD, SW1_Pin|SW2_Pin|SW3_Pin|SW4_Pin
                          |LED1_Pin|LED2_Pin|LED3_Pin);

  /**/
  LL_GPIO_ResetOutputPin(LED4_GPIO_Port, LED4_Pin);

  /**/
  GPIO_InitStruct.Pin = LED_WORKING_Pin|EN_NST1_Pin|EN_NST2_Pin|EN_NST3_Pin;
  GPIO_InitStruct.Mode = LL_GPIO_MODE_OUTPUT;
  GPIO_InitStruct.Speed = LL_GPIO_SPEED_FREQ_LOW;
  GPIO_InitStruct.OutputType = LL_GPIO_OUTPUT_PUSHPULL;
  GPIO_InitStruct.Pull = LL_GPIO_PULL_NO;
  LL_GPIO_Init(GPIOE, &GPIO_InitStruct);

  /**/
  GPIO_InitStruct.Pin = TEST_Pin;
  GPIO_InitStruct.Mode = LL_GPIO_MODE_OUTPUT;
  GPIO_InitStruct.Speed = LL_GPIO_SPEED_FREQ_VERY_HIGH;
  GPIO_InitStruct.OutputType = LL_GPIO_OUTPUT_PUSHPULL;
  GPIO_InitStruct.Pull = LL_GPIO_PULL_NO;
  LL_GPIO_Init(TEST_GPIO_Port, &GPIO_InitStruct);

  /**/
  GPIO_InitStruct.Pin = RS485_REDE_Pin|ADC_RESET_Pin;
  GPIO_InitStruct.Mode = LL_GPIO_MODE_OUTPUT;
  GPIO_InitStruct.Speed = LL_GPIO_SPEED_FREQ_LOW;
  GPIO_InitStruct.OutputType = LL_GPIO_OUTPUT_PUSHPULL;
  GPIO_InitStruct.Pull = LL_GPIO_PULL_NO;
  LL_GPIO_Init(GPIOA, &GPIO_InitStruct);

  /**/
  GPIO_InitStruct.Pin = ADC_BUSY_Pin;
  GPIO_InitStruct.Mode = LL_GPIO_MODE_INPUT;
  GPIO_InitStruct.Pull = LL_GPIO_PULL_NO;
  LL_GPIO_Init(ADC_BUSY_GPIO_Port, &GPIO_InitStruct);

  /**/
  GPIO_InitStruct.Pin = BEEP_Pin;
  GPIO_InitStruct.Mode = LL_GPIO_MODE_OUTPUT;
  GPIO_InitStruct.Speed = LL_GPIO_SPEED_FREQ_LOW;
  GPIO_InitStruct.OutputType = LL_GPIO_OUTPUT_PUSHPULL;
  GPIO_InitStruct.Pull = LL_GPIO_PULL_NO;
  LL_GPIO_Init(BEEP_GPIO_Port, &GPIO_InitStruct);

  /**/
  GPIO_InitStruct.Pin = IN_DI_A_Pin;
  GPIO_InitStruct.Mode = LL_GPIO_MODE_INPUT;
  GPIO_InitStruct.Pull = LL_GPIO_PULL_UP;
  LL_GPIO_Init(IN_DI_A_GPIO_Port, &GPIO_InitStruct);

  /**/
  GPIO_InitStruct.Pin = IN_DI_B_Pin;
  GPIO_InitStruct.Mode = LL_GPIO_MODE_INPUT;
  GPIO_InitStruct.Pull = LL_GPIO_PULL_UP;
  LL_GPIO_Init(IN_DI_B_GPIO_Port, &GPIO_InitStruct);

  /**/
  GPIO_InitStruct.Pin = ETH_CFG_Pin|ETH_RST_Pin;
  GPIO_InitStruct.Mode = LL_GPIO_MODE_INPUT;
  GPIO_InitStruct.Pull = LL_GPIO_PULL_NO;
  LL_GPIO_Init(GPIOD, &GPIO_InitStruct);

  /**/
  GPIO_InitStruct.Pin = SW1_Pin|SW2_Pin|SW3_Pin|SW4_Pin
                          |LED1_Pin|LED2_Pin|LED3_Pin;
  GPIO_InitStruct.Mode = LL_GPIO_MODE_OUTPUT;
  GPIO_InitStruct.Speed = LL_GPIO_SPEED_FREQ_LOW;
  GPIO_InitStruct.OutputType = LL_GPIO_OUTPUT_PUSHPULL;
  GPIO_InitStruct.Pull = LL_GPIO_PULL_NO;
  LL_GPIO_Init(GPIOD, &GPIO_InitStruct);

  /**/
  GPIO_InitStruct.Pin = LED4_Pin;
  GPIO_InitStruct.Mode = LL_GPIO_MODE_OUTPUT;
  GPIO_InitStruct.Speed = LL_GPIO_SPEED_FREQ_LOW;
  GPIO_InitStruct.OutputType = LL_GPIO_OUTPUT_PUSHPULL;
  GPIO_InitStruct.Pull = LL_GPIO_PULL_NO;
  LL_GPIO_Init(LED4_GPIO_Port, &GPIO_InitStruct);

}

/* USER CODE BEGIN 4 */

static void initData(void)
{
  meas.sequence = 0;
  meas.temperature = 20.0f; // degree
  meas.speed = 0.0f; // km/h
}

static void sendData2PC(void)
{
  if(format == OUTPUT_JUSTFLOAT) {
    if (dataMode == DATA_MEASURE) {
      // In normal mode, the data can be confirmed by VOFA+ JustFloat engine.
      unsigned short length = sizeof(meas) / sizeof(float);
      TRACEFLOAT((float*)&meas, length);
      /* Here, all the information to be output needs to be concentrated in one
       * PRINTF2 statement for output, so that the highest efficiency can be obtained.
       * Because PRINTF2 is sent by DMA, and the buffer is 200 bytes.
       */
    }
    else {
      unsigned short length = sizeof(outputADVal) / sizeof(float);
      TRACEFLOAT((float*)&outputADVal, length);
    }
  }
  else if (format == OUTPUT_FIREWATER) {
    if (dataMode == DATA_MEASURE) {
      // In debug mode, the data can be confirmed by VOFA+ FireWater engine.
      PRINTF2("DATA : %.3f, %.3f, %.3f, %.3f, %.3f, %.4f, %.4f, %.4f, %.2f, %.1f, %.3f, %.4f, %.4f, %ld, %ld\r\n",
              meas.mileage,
              meas.distance,
              meas.distance_comp,
              meas.height,
              meas.height_comp,
              meas.roll,
              meas.pitch,
              meas.yaw,
              meas.battery,
              meas.temperature,
              meas.speed,
              meas.omega1,
              meas.omega2,
              meas.sequence,
              meas.cmd_count
      );
    }
    else if (dataMode == DATA_TEST) {
      PRINTF2("DATA : %.3f,\t%.4f,\t%.4f,\t%.4f,\t%d\r\n",
              meas.mileage,
              meas.height,
              meas.height_comp,
              meas.roll,
              meas.sequence
      );
    }
    else if (dataMode == DATA_ADC_RAW) {
      PRINTF2("DATA : %d, %d, %d, %d, %d, %d, %d, %d\r\n",
              *(int32_t*)(&outputADVal[0]),
              *(int32_t*)(&outputADVal[1]),
              *(int32_t*)(&outputADVal[2]),
              *(int32_t*)(&outputADVal[3]),
              *(int32_t*)(&outputADVal[4]),
              *(int32_t*)(&outputADVal[5]),
              *(int32_t*)(&outputADVal[6]),
              *(int32_t*)(&outputADVal[7])
      );
    }
    else {
      PRINTF2("DATA : %.3f, %.3f, %.3f, %.3f, %.3f, %.3f, %.3f, %.3f\r\n",
              outputADVal[0],
              outputADVal[1],
              outputADVal[2],
              outputADVal[3],
              outputADVal[4],
              outputADVal[5],
              outputADVal[6],
              outputADVal[7]
      );
    }
  }
}

void HAL_UART_RxCpltCallback(UART_HandleTypeDef *huart)
{
  assert_param(huart != &huart2);

  if (huart == &huart4) {
    uart4RxCallback();
  }
  else if (huart == &huart5) {
    uart5RxCallback();
  }
}

/* USER CODE END 4 */

/* mainTask function */
void mainTask(void const * argument)
{

  /* USER CODE BEGIN 5 */

  assert_param(1 == 1); // for test assert
  printf(BANNER_INFO);

  // initialize system
  initCalibrateData();
  initData();
  startGyro();
  startADC();
  startEncoder(0.0f);
  startTempSensor();
  startCommunication();

  // main loop process
  while(1) {
    if (workMode == MODE_NORMAL_WORK && trigMode == TRIG_ENCODER) {
      osSemaphoreWait(EncoderArriveSemHandle, osWaitForever);
    }
    else {
      int delay = (dataMode == DATA_TEST) ? 1 : 5;
      // The data rate output to the host computer cannot be faster than 10ms.
      // otherwise other tasks cannot be completed in the printing interval.
      osDelay(delay);
    }
    meas.sequence++;
    prepareSensorData();
    sendData2PC();
  }

  /* USER CODE END 5 */
}

/* adcTask function */
__weak void adcTask(void const * argument)
{
  for(;;)
  {
    osDelay(1);
  }
}

/* sensorTask function */
__weak void sensorTask(void const * argument)
{
  for(;;)
  {
    osDelay(1);
  }
}

/* commTask function */
__weak void commTask(void const * argument)
{
  for(;;)
  {
    osDelay(1);
  }
}

/* monitorTask function */
void monitorTask(void const * argument)
{
  /* USER CODE BEGIN monitorTask */
  /* Infinite loop */
  while(1) {
    LL_GPIO_TogglePin(LED1_GPIO_Port, LED1_Pin);
    if (workMode == MODE_PRE_WORK) osDelay(100);
    else if (workMode == MODE_NORMAL_WORK) osDelay(500);
  }
  /* USER CODE END monitorTask */
}

void HAL_TIM_PeriodElapsedCallback(TIM_HandleTypeDef *htim)
{
  if (htim->Instance == TIM6) {
    HAL_IncTick();
  }
  /* USER CODE BEGIN Callback 1 */
  if (htim->Instance == TIM1) {
    encoderCallback();
  }
  else if (htim->Instance == TIM5) {
    speedTimerOverflow();
  }
  else if (htim->Instance == TIM3) {
    // LL_GPIO_TogglePin(TEST_GPIO_Port, TEST_Pin); // for test TIM3 slave mode
    osSemaphoreRelease(AdcConvertStartSemHandle);
  }
  else if (htim->Instance == TIM7) {
    HAL_TIM_Base_Stop_IT(&htim7);
    osSemaphoreRelease(EncoderArriveSemHandle);
  }
  /* USER CODE END Callback 1 */
}

void _Error_Handler(char *file, int line)
{
  while(1)
  {
  }
}

#ifdef  USE_FULL_ASSERT
/**
  * @brief  Reports the name of the source file and the source line number
  *         where the assert_param error has occurred.
  * @param  file: pointer to the source file name
  * @param  line: assert_param error line source number
  * @retval None
  */
void assert_failed(uint8_t* file, uint32_t line)
{
  /* USER CODE BEGIN 6 */
  /* User can add his own implementation to report the file name and line number,
     tex: printf("Wrong parameters value: file %s on line %d\r\n", file, line) */
  taskDISABLE_INTERRUPTS();
  printf("Wrong parameters value : file %s on line %d.\r\n", file, (int)line);
  while(1);
  /* USER CODE END 6 */
}
#endif /* USE_FULL_ASSERT */

/************************ (C) COPYRIGHT STMicroelectronics *****END OF FILE****/
